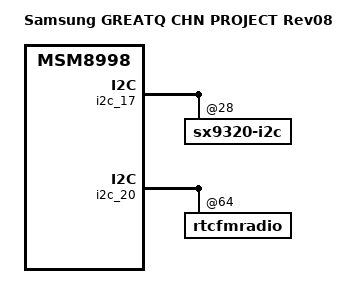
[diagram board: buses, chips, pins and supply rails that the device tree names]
/* Copyright (c) 2016, The Linux Foundation. All rights reserved.
 *
 * This program is free software; you can redistribute it and/or modify
 * it under the terms of the GNU General Public License version 2 and
 * only version 2 as published by the Free Software Foundation.
 *
 * This program is distributed in the hope that it will be useful,
 * but WITHOUT ANY WARRANTY; without even the implied warranty of
 * MERCHANTABILITY or FITNESS FOR A PARTICULAR PURPOSE.  See the
 * GNU General Public License for more details.
 */


/dts-v1/;

#include "../qcom/msm8998-v2.1.dtsi"
#include "../qcom/msm8998-mtp.dtsi"
#include "msm8998-sec-common.dtsi"
#include "msm8998-sec-greatq-common.dtsi"
#include "msm8998-sec-greatq-common-pm.dtsi"
#include "battery-data-greatq-r01.dtsi"
#include "msm8998-sec-greatq-r08.dtsi"
/ {
	model = "Samsung GREATQ CHN PROJECT Rev08";
	compatible = "qcom,msm8998-mtp", "qcom,msm8998", "qcom,mtp";
	qcom,board-id = <8 8>;

};

&slim_aud {
	imp_list: imp_list {
		#list-imp-cells = <3>;
	};

	tavil_codec {
		imp-table = <&imp_list 0 0 6>,
				 <&imp_list 1 13 0>,
				 <&imp_list 14 42 2>,
				 <&imp_list 43 100 5>,
				 <&imp_list 101 200 7>,
				 <&imp_list 201 450 8>,
				 <&imp_list 451 1000 8>,
				 <&imp_list 1001 0x7fffffff 6>;
	};
};

&soc {
	i2c_17: i2c@17 { /* SW I2C */
		sx9320-i2c@28 {
			sx9320,normal_thd = <0x1E>;
		};
	};

	i2c_20: i2c@20{ /* FM Radio (Richwave) */
		rtcfmradio@64 {
			volume_db;
			radio_vol = <44 43 39 35 31 28 25 22
				19 16 14 12 9 6 3 0>;
		};
	};
};
